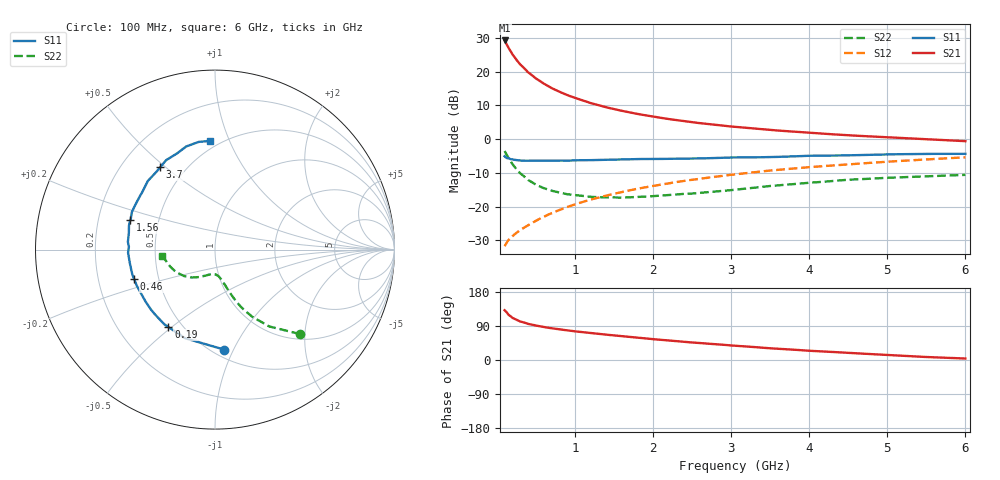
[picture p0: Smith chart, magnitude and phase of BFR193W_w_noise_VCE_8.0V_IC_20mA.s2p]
! Infineon Technologies  Discrete & RF Semiconductors
! BFR193W
! VCE =  8.0 V,  IC =  20 mA
! Common Emitter S-Parameters:  Nov 2015
# GHz  S  MA  R  50
!  f  S11  S21  S12  S22
! GHz  MAG  ANG  MAG  ANG  MAG  ANG  MAG  ANG
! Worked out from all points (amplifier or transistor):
!   192 points, 100 MHz to 6 GHz, reference 50 ohm
!   highest |S21| = 29.3 dB at 100 MHz (marker M1)
!   |S21| within 3 dB of that: start of sweep to 171.9 MHz
!   unconditionally stable (mu >= 1): 822.2 MHz to 2.614 GHz
!   at 440 MHz: K = 0.87, MSG = 22.1 dB, |S12| = -25.0 dB
!   at 1.7 GHz: K = 1.03, MAG = 10.5 dB, |S12| = -15.2 dB
!   at 6 GHz: K = 0.91, MSG = 2.4 dB, |S12| = -5.4 dB
!   lowest NFmin = 1.40 dB at 450 MHz
!   S11 on the Smith chart (normalised r, x): 100 MHz: 0.57, -0.92; 190 MHz: 0.42, -0.49; 460 MHz: 0.36, -0.15; 1.56 GHz: 0.34, +0.15; 3.7 GHz: 0.36, +0.48; 6 GHz: 0.45, +0.85
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0.1  0.559 -84.9  29.14 131.4  0.0259 59.5  0.6681 -44.8
0.15  0.5211 -108.8  22.62 119.3  0.032 55.8  0.5239 -54.8
0.19  0.5035 -121.0  19.05 113.2  0.0355 55.0  0.4465 -59.5
0.2  0.5028 -124.2  18.19 111.3  0.0364 54.8  0.4277 -61.0
0.24  0.492 -133.0  15.68 107.1  0.0399 55.7  0.3718 -64.3
0.26  0.4888 -136.8  14.62 105.1  0.0416 56.1  0.3488 -65.7
0.3  0.4832 -143.2  12.84 101.6  0.0448 57.0  0.3123 -67.8
0.4  0.4801 -155.3  9.837 95.4  0.0528 59.8  0.2491 -71.3
0.46  0.4796 -160.0  8.71 92.9  0.0581 61.2  0.2266 -72.5
0.5  0.4811 -163.2  7.969 90.9  0.0616 62.0  0.2117 -73.5
0.6  0.4802 -169.4  6.692 87.1  0.0706 63.7  0.1879 -76.1
0.7  0.4816 -173.8  5.747 83.8  0.0797 65.1  0.1722 -77.7
0.9  0.4799 178.1  4.513 78.2  0.0985 66.5  0.1528 -81.1
1.1  0.4874 172.0  3.764 73.6  0.1173 66.8  0.1437 -85.1
1.34  0.4948 165.7  3.111 68.3  0.1398 66.7  0.1377 -90.1
1.56  0.4995 160.7  2.7 63.6  0.1608 66.1  0.1362 -94.7
2.08  0.5095 149.9  2.092 53.7  0.2102 63.8  0.1448 -104.4
3.1  0.5359 132.8  1.507 37.0  0.3055 56.9  0.1804 -121.8
3.7  0.5511 123.6  1.319 28.4  0.3594 52.1  0.211 -133.7
4.1  0.5688 117.2  1.224 23.4  0.3925 48.8  0.23 -141.3
5.1  0.5979 104.2  1.054 12.1  0.4711 40.7  0.2701 -161.3
6  0.6065 92.4  0.935 3.9  0.5384 33.2  0.2957 -173.2
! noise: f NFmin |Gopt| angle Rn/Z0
0.45  1.4  0.3  160  0.1
0.9  1.45  0.34  172  0.11
1.8  2.2  0.56  -148  0.2
